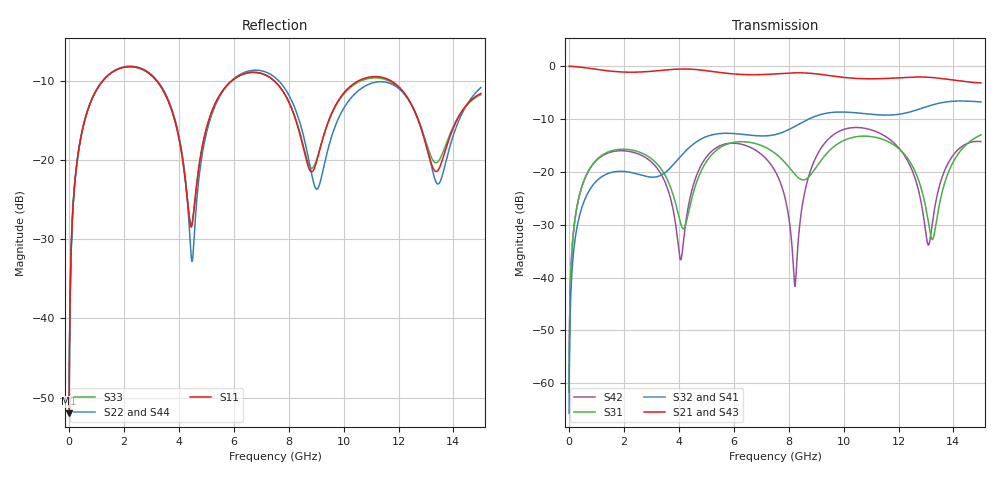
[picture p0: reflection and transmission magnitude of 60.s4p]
! Created with skrf 1.8.0 (http://scikit-rf.org).
# GHz S RI R 50.0
!freq ReS11 ImS11 ReS12 ImS12 ReS13 ImS13
! ReS14 ImS14
! ReS21 ImS21 ReS22 ImS22 ReS23 ImS23
! ReS24 ImS24
! ReS31 ImS31 ReS32 ImS32 ReS33 ImS33
! ReS34 ImS34
! ReS41 ImS41 ReS42 ImS42 ReS43 ImS43
! ReS44 ImS44
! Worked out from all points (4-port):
!   2499 points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, 5 MHz to 15 GHz, reference 50 ohm
!   strongest paths, dB at 5 MHz, 3.476 GHz, 7.19 GHz, 11.1 GHz, 15 GHz:
!     S21: 0.0, -0.8, -1.6, -2.4, -3.2
!     S43: 0.0, -0.8, -1.6, -2.4, -3.2
!     S32: -65.7, -20.2, -13.2, -9.2, -6.8
!     S41: -65.7, -20.3, -13.3, -9.3, -6.8
!     S31: -61.7, -20.4, -15.5, -13.4, -13.0
!     S42: -61.7, -21.7, -17.6, -12.2, -14.3
!   lowest |S11| = -52.0 dB at 5 MHz (marker M1), VSWR 1.01, Z = 50.2 + j0.152 ohm
!   |S11| at or under -10 dB: 3.197 GHz to 5.915 GHz (2.718 GHz wide, 59.7 % of centre); 7.479 GHz to 10.53 GHz (3.051 GHz wide, 33.9 % of centre); 11.74 GHz to end of sweep (the widest 3 of 4)
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0.005  0.002 0.00152  0.998 -0.0039  0.000103 0.00082  -9.96e-05 -0.000511
       0.998 -0.0039  0.002 0.00152  -9.96e-05 -0.000511  0.000103 0.00082
       0.000103 0.00082  -9.96e-05 -0.000511  0.002 0.00152  0.998 -0.0039
       -9.96e-05 -0.000511  0.000103 0.00082  0.998 -0.0039  0.002 0.00152
1.3193  0.2808 0.1724  0.5218 -0.7434  0.1396 0.0537  -0.0937 -0.00167
        0.5218 -0.7434  0.2836 0.1705  -0.0939 -0.00141  0.1314 0.0654
        0.1396 0.0537  -0.0939 -0.00141  0.2807 0.1725  0.5218 -0.7434
        -0.0937 -0.00167  0.1314 0.0654  0.5218 -0.7434  0.2837 0.1704
4.395581  0.0378 -0.0159  -0.9287 -0.1155  -0.0203 0.0416  -0.0194 0.17
          -0.9287 -0.1155  0.023 -0.0255  -0.0154 0.1704  0.0191 0.0513
          -0.0203 0.0416  -0.0154 0.1704  0.0388 -0.0164  -0.9286 -0.1154
          -0.0194 0.17  0.0191 0.0513  -0.9286 -0.1154  0.0223 -0.0259
8.228429  0.1434 -0.1177  0.6637 0.5516  -0.0664 -0.0675  0.1706 -0.208
          0.6637 0.5516  0.1471 -0.1538  0.1603 -0.2163  0.00787 0.00246
          -0.0664 -0.0675  0.1603 -0.2163  0.1475 -0.1162  0.6637 0.551
          0.1706 -0.208  0.00787 0.00246  0.6637 0.551  0.1459 -0.1568
8.959983  0.0881 0.0231  0.8367 0.1304  -0.0516 0.0932  0.0509 -0.3308
          0.8367 0.1304  0.064 -0.0217  0.0356 -0.3326  0.0458 0.1234
          -0.0516 0.0932  0.0356 -0.3326  0.0923 0.02  0.8367 0.1299
          0.0509 -0.3308  0.0458 0.1234  0.8367 0.1299  0.0622 -0.0219
11.86119  0.2853 -0.1109  -0.1224 -0.7615  0.1136 -0.1364  -0.3256 0.1043
          -0.1224 -0.7615  0.2822 -0.0879  -0.3218 0.129  0.1247 -0.1364
          0.1136 -0.1364  -0.3218 0.129  0.2829 -0.1026  -0.1248 -0.761
          -0.3256 0.1043  0.1247 -0.1364  -0.1248 -0.761  0.2843 -0.0982
15  0.2545 0.0694  -0.4984 0.4812  0.2124 -0.0691  0.3523 0.2879
    -0.4984 0.4812  0.2598 0.1239  0.3764 0.2608  0.1928 0.0138
    0.2124 -0.0691  0.3764 0.2608  0.2508 0.0647  -0.4953 0.4839
    0.3523 0.2879  0.1928 0.0138  -0.4953 0.4839  0.2635 0.1291
